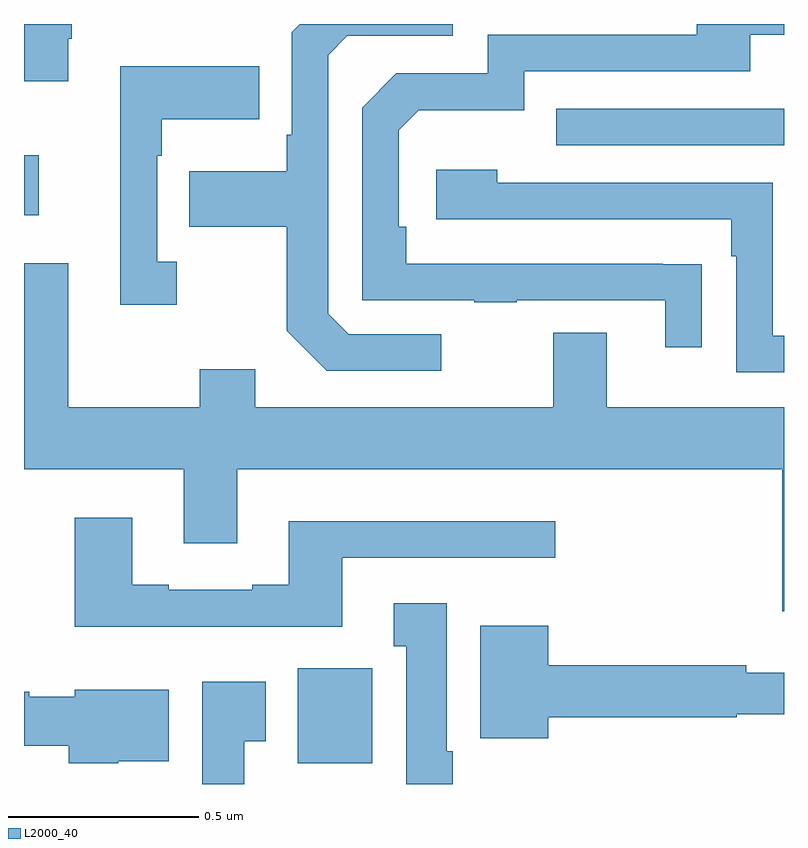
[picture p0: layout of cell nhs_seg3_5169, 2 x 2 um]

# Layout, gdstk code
import gdstk
lib = gdstk.Library(unit=1e-6, precision=1e-09)
def R(c, l, rs):  # rectangles x0, y0, x1, y1
    for r in rs: c.add(gdstk.rectangle(r[:2], r[2:], *l))
def P(c, l, *ps):  # polygons
    for p in ps: c.add(gdstk.Polygon(p, *l))
L2000_40 = (2000, 40)

nhs_seg3_5169 = lib.new_cell('nhs_seg3_5169')
R(nhs_seg3_5169, L2000_40, [(175.721,721.454,175.917,721.705), (175,722.897,175.039,723.055), (176.401,723.081,177,723.177)])
P(nhs_seg3_5169, L2000_40, [(175.117,723.361),(175.125,723.361),(175.125,723.4),(175,723.4),(175,723.249),(175.117,723.249)],
  [(176.783,722.768),(176.681,722.768),(176.681,722.769),(176.006,722.769),(176.006,722.866),(175.986,722.866),(175.986,723.12),(176.039,723.173),(176.316,723.173),(176.316,723.276),(176.911,723.276),(176.911,723.372),(177,723.372),(177,723.4),(176.771,723.4),(176.771,723.372),(176.22,723.372),(176.22,723.27),(175.98,723.27),(175.89,723.18),(175.89,722.673),(176.185,722.673),(176.185,722.668),(176.297,722.668),(176.297,722.673),(176.687,722.673),(176.687,722.55),(176.783,722.55)],
  [(176.098,722.583),(175.854,722.583),(175.8,722.637),(175.8,723.318),(175.851,723.369),(176.128,723.369),(176.128,723.4),(175.726,723.4),(175.704,723.378),(175.704,723.109),(175.692,723.109),(175.692,723.013),(175.435,723.013),(175.435,722.866),(175.692,722.866),(175.692,722.593),(175.797,722.487),(176.098,722.487)],
  [(175.402,722.774),(175.35,722.774),(175.35,723.053),(175.363,723.053),(175.363,723.149),(175.619,723.149),(175.619,723.289),(175.253,723.289),(175.253,722.661),(175.402,722.661)],
  [(177,722.58),(176.97,722.58),(176.97,722.982),(176.246,722.982),(176.246,723.016),(176.085,723.016),(176.085,722.886),(176.861,722.886),(176.861,722.789),(176.874,722.789),(176.874,722.484),(177,722.484)],
  [(175.117,722.77),(175,722.77),(175,722.228),(175.421,722.228),(175.421,722.034),(175.561,722.034),(175.561,722.228),(176.996,722.228),(176.996,721.854),(177,721.854),(177,722.392),(176.533,722.392),(176.533,722.587),(176.393,722.587),(176.393,722.392),(175.609,722.392),(175.609,722.491),(175.462,722.491),(175.462,722.392),(175.117,722.392)],
  [(175.837,721.995),(176.398,721.995),(176.398,722.092),(175.697,722.092),(175.697,721.924),(175.601,721.924),(175.601,721.911),(175.381,721.911),(175.381,721.924),(175.285,721.924),(175.285,722.101),(175.133,722.101),(175.133,721.814),(175.837,721.814)],
  [(176.128,721.486),(176.113,721.486),(176.113,721.876),(175.973,721.876),(175.973,721.763),(176.006,721.763),(176.006,721.4),(176.128,721.4)],
  [(176.38,721.576),(176.876,721.576),(176.876,721.584),(177,721.584),(177,721.693),(176.9,721.693),(176.9,721.712),(176.38,721.712),(176.38,721.816),(176.201,721.816),(176.201,721.52),(176.38,721.52)],
  [(175.579,721.513),(175.636,721.513),(175.636,721.669),(175.469,721.669),(175.469,721.4),(175.579,721.4)],
  [(175.248,721.46),(175.381,721.46),(175.381,721.648),(175.134,721.648),(175.134,721.63),(175.014,721.63),(175.014,721.643),(175,721.643),(175,721.501),(175.118,721.501),(175.118,721.454),(175.248,721.454)])

lib.write_gds('nhs_seg3_5169.gds')
